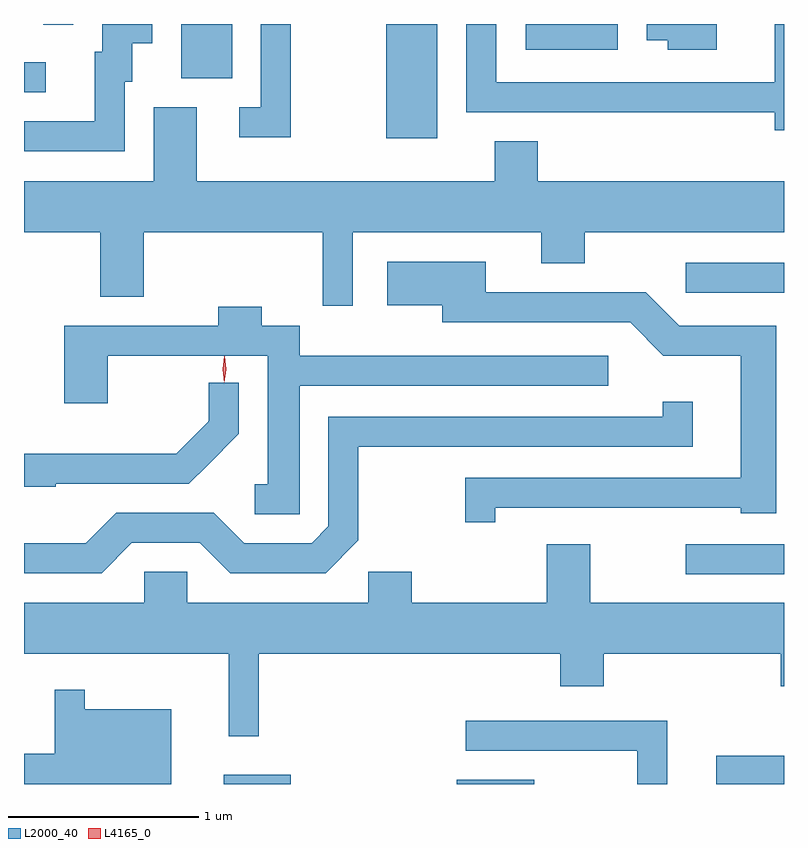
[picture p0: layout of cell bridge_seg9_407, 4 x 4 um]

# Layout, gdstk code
import gdstk
lib = gdstk.Library(unit=1e-6, precision=1e-09)
def R(c, l, rs):  # rectangles x0, y0, x1, y1
    for r in rs: c.add(gdstk.rectangle(r[:2], r[2:], *l))
def P(c, l, *ps):  # polygons
    for p in ps: c.add(gdstk.Polygon(p, *l))
L2000_40 = (2000, 40)
L4165_0 = (4165, 0)

bridge_seg9_407 = lib.new_cell('bridge_seg9_407')
R(bridge_seg9_407, L2000_40, [(524.101,2024.431,524.454,2024.479), (525.326,2024.431,525.734,2024.454), (526.693,2024.431,527.049,2024.579), (526.533,2025.536,527.049,2025.694), (526.533,2027.016,527.049,2027.174), (524.956,2027.831,525.224,2028.431), (523.049,2028.071,523.163,2028.229), (523.876,2028.146,524.144,2028.431), (525.691,2028.296,526.174,2028.431), (523.151,2028.428,523.309,2028.431)])
P(bridge_seg9_407, L2000_40, [(527.049,2028.431),(527.001,2028.431),(527.001,2028.124),(525.534,2028.124),(525.534,2028.431),(525.376,2028.431),(525.376,2027.966),(527.001,2027.966),(527.001,2027.873),(527.049,2027.873)],
  [(524.454,2028.431),(524.296,2028.431),(524.296,2027.994),(524.183,2027.994),(524.183,2027.836),(524.454,2027.836)],
  [(523.579,2028.126),(523.619,2028.126),(523.619,2028.331),(523.724,2028.331),(523.724,2028.431),(523.461,2028.431),(523.461,2028.284),(523.421,2028.284),(523.421,2027.919),(523.049,2027.919),(523.049,2027.761),(523.579,2027.761)],
  [(526.694,2028.431),(526.326,2028.431),(526.326,2028.346),(526.436,2028.346),(526.436,2028.296),(526.694,2028.296)],
  [(524.779,2027.336),(525.771,2027.336),(525.771,2027.171),(525.999,2027.171),(525.999,2027.336),(527.049,2027.336),(527.049,2027.604),(525.754,2027.604),(525.754,2027.814),(525.526,2027.814),(525.526,2027.604),(523.959,2027.604),(523.959,2027.994),(523.731,2027.994),(523.731,2027.604),(523.049,2027.604),(523.049,2027.336),(523.451,2027.336),(523.451,2026.996),(523.679,2026.996),(523.679,2027.336),(524.621,2027.336),(524.621,2026.948),(524.779,2026.948)],
  [(525.529,2025.886),(526.821,2025.886),(526.821,2025.856),(527.009,2025.856),(527.009,2026.844),(526.497,2026.844),(526.322,2027.019),(525.479,2027.019),(525.479,2027.179),(524.961,2027.179),(524.961,2026.951),(525.251,2026.951),(525.251,2026.861),(526.239,2026.861),(526.414,2026.686),(526.821,2026.686),(526.821,2026.044),(525.371,2026.044),(525.371,2025.808),(525.529,2025.808)],
  [(524.499,2026.526),(526.123,2026.526),(526.123,2026.684),(524.499,2026.684),(524.499,2026.844),(524.299,2026.844),(524.299,2026.944),(524.071,2026.944),(524.071,2026.844),(523.261,2026.844),(523.261,2026.436),(523.489,2026.436),(523.489,2026.686),(524.331,2026.686),(524.331,2026.009),(524.263,2026.009),(524.263,2025.851),(524.499,2025.851)],
  [(523.215,2026.011),(523.917,2026.011),(524.013,2026.107),(524.179,2026.274),(524.179,2026.543),(524.021,2026.543),(524.021,2026.342),(524.013,2026.333),(523.849,2026.169),(523.049,2026.169),(523.049,2025.996),(523.215,2025.996)],
  [(523.617,2025.701),(523.974,2025.701),(524.134,2025.541),(524.637,2025.541),(524.809,2025.714),(524.809,2026.206),(526.569,2026.206),(526.569,2026.443),(526.411,2026.443),(526.411,2026.364),(524.651,2026.364),(524.651,2025.787),(524.564,2025.699),(524.207,2025.699),(524.047,2025.859),(523.534,2025.859),(523.374,2025.699),(523.049,2025.699),(523.049,2025.541),(523.457,2025.541)],
  [(524.284,2025.116),(525.871,2025.116),(525.871,2024.946),(526.099,2024.946),(526.099,2025.116),(527.031,2025.116),(527.031,2024.946),(527.049,2024.946),(527.049,2025.384),(526.029,2025.384),(526.029,2025.694),(525.801,2025.694),(525.801,2025.384),(525.089,2025.384),(525.089,2025.549),(524.861,2025.549),(524.861,2025.384),(523.909,2025.384),(523.909,2025.549),(523.681,2025.549),(523.681,2025.384),(523.049,2025.384),(523.049,2025.116),(524.126,2025.116),(524.126,2024.683),(524.284,2024.683)],
  [(523.824,2024.824),(523.369,2024.824),(523.369,2024.928),(523.211,2024.928),(523.211,2024.589),(523.049,2024.589),(523.049,2024.431),(523.824,2024.431)],
  [(526.434,2024.764),(525.373,2024.764),(525.373,2024.606),(526.276,2024.606),(526.276,2024.431),(526.434,2024.431)])
P(bridge_seg9_407, L4165_0, [(524.103,2026.543),(524.103,2026.544),(524.094,2026.613),(524.104,2026.682),(524.105,2026.682),(524.105,2026.682),(524.114,2026.613),(524.104,2026.544)])

lib.write_gds('bridge_seg9_407.gds')
